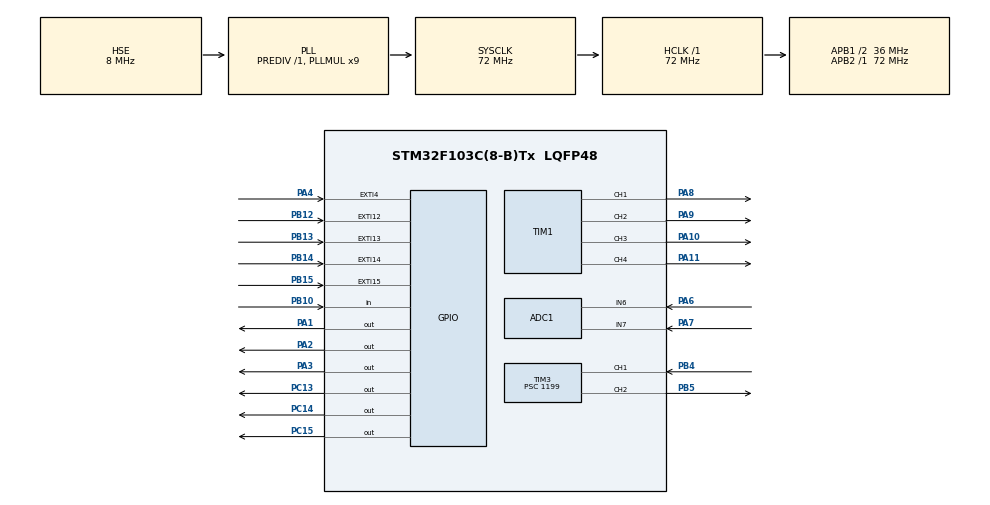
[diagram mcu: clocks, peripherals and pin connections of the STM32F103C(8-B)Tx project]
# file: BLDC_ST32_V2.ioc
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ADC1.Channel-0\#ChannelRegularConversion=ADC_CHANNEL_6
ADC1.ContinuousConvMode=ENABLE
ADC1.ExternalTrigInjecConv=ADC_EXTERNALTRIGINJECCONV_T1_CC4
ADC1.InjNumberOfConversion=1
ADC1.NbrOfConversionFlag=1
ADC1.Rank-0\#ChannelRegularConversion=1
ADC1.SamplingTime-0\#ChannelRegularConversion=ADC_SAMPLETIME_1CYCLE_5
ADC1.master=1
Dma.ADC1.0.Direction=DMA_PERIPH_TO_MEMORY
Dma.ADC1.0.Instance=DMA1_Channel1
Dma.ADC1.0.MemDataAlignment=DMA_MDATAALIGN_WORD
Dma.ADC1.0.MemInc=DMA_MINC_ENABLE
Dma.ADC1.0.Mode=DMA_CIRCULAR
Dma.ADC1.0.PeriphDataAlignment=DMA_PDATAALIGN_WORD
Dma.ADC1.0.PeriphInc=DMA_PINC_DISABLE
Dma.ADC1.0.Priority=DMA_PRIORITY_VERY_HIGH
Dma.Request0=ADC1
Mcu.Family=STM32F1
Mcu.Name=STM32F103C(8-B)Tx
Mcu.Package=LQFP48
NVIC.ADC1_2_IRQn=true\:1\:0\:true\:true\:true\:4\:true\:true
NVIC.DMA1_Channel1_IRQn=true\:1\:0\:true\:true\:true\:1\:false\:true
NVIC.EXTI15_10_IRQn=true\:1\:0\:true\:true\:true\:2\:true\:true
NVIC.EXTI4_IRQn=true\:0\:0\:true\:true\:true\:3\:true\:true
NVIC.PriorityGroup=NVIC_PRIORITYGROUP_4
NVIC.TIM3_IRQn=true\:1\:0\:true\:true\:true\:5\:true\:true
PA1.Signal=GPIO_Output
PA10.GPIO_Speed=GPIO_SPEED_FREQ_HIGH
PA10.Signal=S_TIM1_CH3
PA11.GPIO_Speed=GPIO_SPEED_FREQ_HIGH
PA11.Signal=S_TIM1_CH4
PA13.Mode=Serial_Wire
PA13.Signal=SYS_JTMS-SWDIO
PA14.Mode=Serial_Wire
PA14.Signal=SYS_JTCK-SWCLK
PA2.GPIO_PuPd=GPIO_PULLDOWN
PA2.GPIO_Speed=GPIO_SPEED_FREQ_LOW
PA2.PinState=GPIO_PIN_RESET
PA2.Signal=GPIO_Output
PA3.GPIO_ModeDefaultOutputPP=GPIO_MODE_OUTPUT_PP
PA3.GPIO_PuPd=GPIO_PULLDOWN
PA3.GPIO_Speed=GPIO_SPEED_FREQ_LOW
PA3.PinState=GPIO_PIN_RESET
PA3.Signal=GPIO_Output
PA4.GPIO_ModeDefaultEXTI=GPIO_MODE_IT_RISING
PA4.GPIO_PuPd=GPIO_PULLDOWN
PA4.Signal=GPXTI4
PA6.Signal=ADCx_IN6
PA7.Signal=ADCx_IN7
PA8.GPIO_Speed=GPIO_SPEED_FREQ_HIGH
PA8.Signal=S_TIM1_CH1
PA9.GPIO_Speed=GPIO_SPEED_FREQ_HIGH
PA9.Signal=S_TIM1_CH2
PB10.GPIO_Mode=GPIO_MODE_INPUT
PB10.GPIO_PuPd=GPIO_PULLDOWN
PB10.Signal=GPIO_Input
PB12.GPIO_ModeDefaultEXTI=GPIO_MODE_IT_RISING_FALLING
PB12.GPIO_PuPd=GPIO_PULLUP
PB12.Signal=GPXTI12
PB13.GPIO_ModeDefaultEXTI=GPIO_MODE_IT_RISING_FALLING
PB13.GPIO_PuPd=GPIO_PULLUP
PB13.Signal=GPXTI13
PB14.GPIO_ModeDefaultEXTI=GPIO_MODE_IT_RISING_FALLING
PB14.GPIO_PuPd=GPIO_PULLUP
PB14.Signal=GPXTI14
PB15.GPIO_ModeDefaultEXTI=GPIO_MODE_IT_RISING_FALLING
PB15.GPIO_PuPd=GPIO_PULLUP
PB15.Signal=GPXTI15
PB4.GPIO_PuPd=GPIO_PULLDOWN
PB4.Signal=S_TIM3_CH1
PB5.GPIO_Speed=GPIO_SPEED_FREQ_HIGH
PB5.Signal=S_TIM3_CH2
PC13-TAMPER-RTC.GPIO_PuPd=GPIO_PULLDOWN
PC13-TAMPER-RTC.GPIO_Speed=GPIO_SPEED_FREQ_HIGH
PC13-TAMPER-RTC.Signal=GPIO_Output
PC14-OSC32_IN.GPIO_PuPd=GPIO_PULLDOWN
PC14-OSC32_IN.GPIO_Speed=GPIO_SPEED_FREQ_HIGH
PC14-OSC32_IN.Signal=GPIO_Output
PC15-OSC32_OUT.GPIO_PuPd=GPIO_PULLDOWN
PC15-OSC32_OUT.GPIO_Speed=GPIO_SPEED_FREQ_HIGH
PC15-OSC32_OUT.Signal=GPIO_Output
PD0-OSC_IN.Mode=HSE-External-Oscillator
PD0-OSC_IN.Signal=RCC_OSC_IN
PD1-OSC_OUT.Mode=HSE-External-Oscillator
PD1-OSC_OUT.Signal=RCC_OSC_OUT
ProjectManager.HeapSize=0x200
ProjectManager.StackSize=0x400
ProjectManager.TargetToolchain=MDK-ARM V5
RCC.ADCPresc=RCC_ADCPCLK2_DIV6
RCC.AHBFreq_Value=72000000
RCC.APB1CLKDivider=RCC_HCLK_DIV2
RCC.APB1Freq_Value=36000000
RCC.APB1TimFreq_Value=72000000
RCC.APB2Freq_Value=72000000
RCC.APB2TimFreq_Value=72000000
RCC.EnbaleCSS=true
RCC.HCLKFreq_Value=72000000
RCC.PLLMUL=RCC_PLL_MUL9
RCC.PLLSourceVirtual=RCC_PLLSOURCE_HSE
RCC.RCC_MCOSource=RCC_MCO1SOURCE_HSE
RCC.SYSCLKFreq_VALUE=72000000
RCC.SYSCLKSource=RCC_SYSCLKSOURCE_PLLCLK
RCC.USBFreq_Value=72000000
SH.ADCx_IN6.0=ADC1_IN6,IN6
SH.ADCx_IN7.0=ADC1_IN7,IN7
SH.S_TIM1_CH1.0=TIM1_CH1,PWM Generation1 CH1
SH.S_TIM1_CH2.0=TIM1_CH2,PWM Generation2 CH2
SH.S_TIM1_CH3.0=TIM1_CH3,PWM Generation3 CH3
SH.S_TIM1_CH4.0=TIM1_CH4,PWM Generation4 CH4
SH.S_TIM3_CH1.0=TIM3_CH1,Input_Capture1_from_TI1
SH.S_TIM3_CH2.0=TIM3_CH2,PWM Generation2 CH2
TIM1.Channel-PWM\ Generation1\ CH1=TIM_CHANNEL_1
TIM1.Channel-PWM\ Generation2\ CH2=TIM_CHANNEL_2
TIM1.Channel-PWM\ Generation3\ CH3=TIM_CHANNEL_3
TIM1.Channel-PWM\ Generation4\ CH4=TIM_CHANNEL_4
TIM3.Channel-Input_Capture1_from_TI1=TIM_CHANNEL_1
TIM3.Channel-PWM\ Generation2\ CH2=TIM_CHANNEL_2
TIM3.ICFilter_CH1=14
TIM3.ICPolarity_CH1=TIM_INPUTCHANNELPOLARITY_RISING
TIM3.Period=0
TIM3.Prescaler=1199
VP_TIM3_VS_ClockSourceINT.Mode=Internal
board=custom

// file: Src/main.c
/* USER CODE BEGIN Header */
/**
  ******************************************************************************
  * @file           : main.c
  * @brief          : Main program body
  ******************************************************************************
  * @attention
  *
  * <h2><center>&copy; Copyright (c) 2019 STMicroelectronics.
  * All rights reserved.</center></h2>
  *
  * This software component is licensed by ST under BSD 3-Clause license,
  * the "License"; You may not use this file except in compliance with the
  * License. You may obtain a copy of the License at:
  *                        opensource.org/licenses/BSD-3-Clause
  *
  ******************************************************************************
  */
/* USER CODE END Header */

#include "main.h"

/* USER CODE BEGIN Includes */
#define MIN 0
#define Kp 10
#define Kd 0
#define Ki 1000

/* USER CODE END Includes */

/* USER CODE BEGIN PTD */
extern void EXTI15_10_IRQHandler(void);

/* USER CODE END PTD */

ADC_HandleTypeDef hadc1;
DMA_HandleTypeDef hdma_adc1;

TIM_HandleTypeDef htim1;
TIM_HandleTypeDef htim3;

/* USER CODE BEGIN PV */

 uint32_t adc[2];
 uint32_t val,pre,value[2];
 uint32_t  s_p=0;
 float s_p_p=0;
 uint32_t flag;
 uint32_t temp_result;
 volatile  float c_p = 0;
           double error = 0;
           int8_t result_ = 0;
					 uint32_t result = 0;
           double integ = 0;
					 float i=0;
 volatile  int chk=0;
 //volatile  float c_p_p=0;
 volatile  uint32_t   result_prev=0;
 volatile  float  inj=0;
 double RPM=0;
 double RPM_C=0;
 double lastError=0;
 volatile float prev_RPM=0;
          float elapsedTime=0;
					double rateError = 0;
 volatile float input_cap = 0;
 uint32_t input_capture_actual=0;

/* USER CODE END PV */

void SystemClock_Config(void);
static void MX_GPIO_Init(void);
static void MX_DMA_Init(void);
static void MX_ADC1_Init(void);
static void MX_TIM1_Init(void);
static void MX_TIM3_Init(void);
static void MX_NVIC_Init(void);
/* USER CODE BEGIN PFP */

void _Motoring(uint32_t value[])
{

	 RPM = 60000/input_cap;
	 s_p_p = value[0];
	 result = s_p_p*1;
   htim1.Instance->CCR1 = (result);
	 htim1.Instance->CCR2 = (result);
	 htim1.Instance->CCR3 = (result);
   htim1.Instance->CCR4 = (result);
	 integ = 0;
	 error = 0;
	 flag=1;

}
void PIDcal(uint32_t value[])
{

	  if(flag)
		{
			temp_result=result*0.5;
		}
	  s_p = RPM;
	  RPM_C = 60000/input_cap;
	  error = s_p - RPM_C;
	  //s_p = (value[1]*0.125);
	  //s_p_p=((s_p-745)*1.74);
    //s_p_p=(((s_p-993)*2));//black throttle
    //c_p = HAL_ADCEx_InjectedGetValue(&hadc1,ADC_INJECTED_RANK_1);
	  //c_p_p=((c_p-1040)*0.5);//930*4.124874=4096{3012->4096**0->4096}level shift down and then multiply+offset for current
    // error = (s_p_p-c_p_p)*3.9257;//*0.9814453125;
	  //c_p_p=0;
	  //error = (s_p_p-0)*0.99;
	  /* error = (s_p-RPM);
	  integ = integ + (error*0.00003);
    if(integ>=4020)
    {integ=4020;}
    if(integ<=-4020)
    {integ=-4020;}
	  //der = (float)(error - lst_error)/0.0012048;
	  result = (Kp*error)+(Ki*integ);//+(Kd*der);*/
		//elapsedTime = 0.00003;        //compute time elapsed from previous computation
    integ += (float)(error * 0.00003);                // compute integral
		/*if(integ >= 4020)
    {integ=4020;}
    if(integ <= -4020)
    {integ = -4020;}*/
     //rateError = (error - lastError)/elapsedTime;   // compute derivative
    result_ =(float) (Kp*error + Ki*integ+temp_result) ;//
		rateError=result;
	  /*if(result>=255)
	  {result=255;}
	  if(result<=0)
	  {result=0;}*/
		result_=result_*16;
		htim1.Instance->CCR1 = (result_);
	  htim1.Instance->CCR2 = (result_);
	  htim1.Instance->CCR3 = (result_);
    htim1.Instance->CCR4 = (result_);

	  /*htim2.Instance->CCR2 = (4020);
    htim2.Instance->CCR3 = (4020);
    htim2.Instance->CCR4 = (4020);*/
	  result_prev=result;
		input_capture_actual=input_cap;
		lastError = error;
		flag=0;
		temp_result=temp_result-100;
}

void HAL_ADCEx_InjectedConvCpltCallback(ADC_HandleTypeDef* hadc)
{
}

void HAL_ADC_ConvCpltCallback(ADC_HandleTypeDef* hadc)
{

 if(hadc->Instance==ADC1)
 {
       value[0]=adc[0];
       value[1]=adc[1];
 }
 if(chk>=150000)
		{
			HAL_GPIO_WritePin(GPIOC,GPIO_PIN_14,GPIO_PIN_SET);
		}
		else{
			HAL_GPIO_WritePin(GPIOC,GPIO_PIN_14,GPIO_PIN_RESET);
			chk++;
		}

  if(s_p_p==0)
 {
	 htim1.Instance->CCR1 = (0);
	 htim1.Instance->CCR2 = (0);
	 htim1.Instance->CCR3 = (0);
   htim1.Instance->CCR4 = (0);
	 input_cap=60000;
	 result=0;
 }
	 if(1)
 {
	  RPM = 60000/input_cap;
	 _Motoring(value);
 }
 else
 {
 PIDcal(value);
 }

}

void HAL_TIM_IC_CaptureCallback(TIM_HandleTypeDef *htim)
{
  /* Prevent unused argument(s) compilation warning */
  UNUSED(htim);

  /* NOTE : This function should not be modified, when the callback is needed,
            the HAL_TIM_IC_CaptureCallback could be implemented in the user file
   */
  if(htim->Instance == TIM3){
      input_cap = __HAL_TIM_GET_COUNTER(&htim3);
		/*if(input_cap>1500)
		{
			input_capture_actual = input_cap; __HAL_TIM_GET_COUNTER(&htim3);
			__HAL_TIM_SET_COUNTER(&htim3,0);
		}*/
		__HAL_TIM_SET_COUNTER(&htim3,0);

  }
}

/* USER CODE END PFP */

int main(void)
{

  /* MCU Configuration--------------------------------------------------------*/

  /* Reset of all peripherals, Initializes the Flash interface and the Systick. */
  HAL_Init();

  /* Configure the system clock */
  SystemClock_Config();

  /* Initialize all configured peripherals */
  MX_GPIO_Init();
  MX_DMA_Init();
  MX_ADC1_Init();
  MX_TIM1_Init();
  MX_TIM3_Init();

  /* Initialize interrupts */
  MX_NVIC_Init();
  /* USER CODE BEGIN 2 */
	HAL_TIM_PWM_Stop(&htim1,TIM_CHANNEL_1);
	HAL_TIM_PWM_Stop(&htim1,TIM_CHANNEL_2);
	HAL_TIM_PWM_Stop(&htim1,TIM_CHANNEL_3);
	HAL_TIM_PWM_Stop(&htim1,TIM_CHANNEL_4);
	HAL_GPIO_WritePin(GPIOA,GPIO_PIN_1,GPIO_PIN_RESET);
	HAL_GPIO_WritePin(GPIOA,GPIO_PIN_2,GPIO_PIN_RESET);
	HAL_GPIO_WritePin(GPIOA,GPIO_PIN_3,GPIO_PIN_RESET);

	EXTI15_10_IRQHandler();

	HAL_Delay(1000);
	htim1.Instance->CCR2 = 0;
  htim1.Instance->CCR3 = 0;
  htim1.Instance->CCR4 = 0;

	HAL_TIM_IC_Start_IT(&htim3,TIM_CHANNEL_1);
	HAL_TIM_PWM_Start(&htim3,TIM_CHANNEL_2);
	HAL_TIM_PWM_Start(&htim1,TIM_CHANNEL_1);

	htim3.Instance->CCR2 = 32767;

  htim1.Instance->CCR2 = 0;
  htim1.Instance->CCR3 = 0;
  htim1.Instance->CCR4 = 0;

	/*htim2.Instance->CCR2 = 4020;
  htim2.Instance->CCR3 = 4020;
  htim2.Instance->CCR4 = 4020;*/

  HAL_Delay(2000);

  HAL_ADCEx_InjectedStart_IT(&hadc1);
  HAL_ADC_Start_DMA(&hadc1,adc,2);

  htim1.Instance->ARR= 4020;
	//htim2.Instance->ARR= 4020;
	htim3.Instance->ARR= 59999;

  /* USER CODE END 2 */

  /* Infinite loop */
  while (1)
  {

  }
}

void SystemClock_Config(void)
{
  RCC_OscInitTypeDef RCC_OscInitStruct = {0};
  RCC_ClkInitTypeDef RCC_ClkInitStruct = {0};
  RCC_PeriphCLKInitTypeDef PeriphClkInit = {0};

  /** Initializes the CPU, AHB and APB busses clocks
  */
  RCC_OscInitStruct.OscillatorType = RCC_OSCILLATORTYPE_HSE;
  RCC_OscInitStruct.HSEState = RCC_HSE_ON;
  RCC_OscInitStruct.HSEPredivValue = RCC_HSE_PREDIV_DIV1;
  RCC_OscInitStruct.HSIState = RCC_HSI_ON;
  RCC_OscInitStruct.PLL.PLLState = RCC_PLL_ON;
  RCC_OscInitStruct.PLL.PLLSource = RCC_PLLSOURCE_HSE;
  RCC_OscInitStruct.PLL.PLLMUL = RCC_PLL_MUL9;
  if (HAL_RCC_OscConfig(&RCC_OscInitStruct) != HAL_OK)
  {
    Error_Handler();
  }
  /** Initializes the CPU, AHB and APB busses clocks
  */
  RCC_ClkInitStruct.ClockType = RCC_CLOCKTYPE_HCLK|RCC_CLOCKTYPE_SYSCLK
                              |RCC_CLOCKTYPE_PCLK1|RCC_CLOCKTYPE_PCLK2;
  RCC_ClkInitStruct.SYSCLKSource = RCC_SYSCLKSOURCE_PLLCLK;
  RCC_ClkInitStruct.AHBCLKDivider = RCC_SYSCLK_DIV1;
  RCC_ClkInitStruct.APB1CLKDivider = RCC_HCLK_DIV2;
  RCC_ClkInitStruct.APB2CLKDivider = RCC_HCLK_DIV1;

  if (HAL_RCC_ClockConfig(&RCC_ClkInitStruct, FLASH_LATENCY_2) != HAL_OK)
  {
    Error_Handler();
  }
  PeriphClkInit.PeriphClockSelection = RCC_PERIPHCLK_ADC;
  PeriphClkInit.AdcClockSelection = RCC_ADCPCLK2_DIV6;
  if (HAL_RCCEx_PeriphCLKConfig(&PeriphClkInit) != HAL_OK)
  {
    Error_Handler();
  }
  /** Enables the Clock Security System
  */
  HAL_RCC_EnableCSS();
}

/**
  * @brief NVIC Configuration.
  * @retval None
  */
static void MX_NVIC_Init(void)
{
  /* DMA1_Channel1_IRQn interrupt configuration */
  HAL_NVIC_SetPriority(DMA1_Channel1_IRQn, 1, 0);
  HAL_NVIC_EnableIRQ(DMA1_Channel1_IRQn);
  /* EXTI15_10_IRQn interrupt configuration */
  HAL_NVIC_SetPriority(EXTI15_10_IRQn, 1, 0);
  HAL_NVIC_EnableIRQ(EXTI15_10_IRQn);
  /* EXTI4_IRQn interrupt configuration */
  HAL_NVIC_SetPriority(EXTI4_IRQn, 0, 0);
  HAL_NVIC_EnableIRQ(EXTI4_IRQn);
  /* ADC1_2_IRQn interrupt configuration */
  HAL_NVIC_SetPriority(ADC1_2_IRQn, 1, 0);
  HAL_NVIC_EnableIRQ(ADC1_2_IRQn);
  /* TIM3_IRQn interrupt configuration */
  HAL_NVIC_SetPriority(TIM3_IRQn, 1, 0);
  HAL_NVIC_EnableIRQ(TIM3_IRQn);
}

static void MX_ADC1_Init(void)
{

  ADC_ChannelConfTypeDef sConfig = {0};
  ADC_InjectionConfTypeDef sConfigInjected = {0};

  /** Common config
  */
  hadc1.Instance = ADC1;
  hadc1.Init.ScanConvMode = ADC_SCAN_DISABLE;
  hadc1.Init.ContinuousConvMode = ENABLE;
  hadc1.Init.DiscontinuousConvMode = DISABLE;
  hadc1.Init.ExternalTrigConv = ADC_SOFTWARE_START;
  hadc1.Init.DataAlign = ADC_DATAALIGN_RIGHT;
  hadc1.Init.NbrOfConversion = 1;
  if (HAL_ADC_Init(&hadc1) != HAL_OK)
  {
    Error_Handler();
  }
  /** Configure Regular Channel
  */
  sConfig.Channel = ADC_CHANNEL_6;
  sConfig.Rank = ADC_REGULAR_RANK_1;
  sConfig.SamplingTime = ADC_SAMPLETIME_1CYCLE_5;
  if (HAL_ADC_ConfigChannel(&hadc1, &sConfig) != HAL_OK)
  {
    Error_Handler();
  }
  /** Configure Injected Channel
  */
  sConfigInjected.InjectedChannel = ADC_CHANNEL_7;
  sConfigInjected.InjectedRank = ADC_INJECTED_RANK_1;
  sConfigInjected.InjectedNbrOfConversion = 1;
  sConfigInjected.InjectedSamplingTime = ADC_SAMPLETIME_1CYCLE_5;
  sConfigInjected.ExternalTrigInjecConv = ADC_EXTERNALTRIGINJECCONV_T1_CC4;
  sConfigInjected.AutoInjectedConv = DISABLE;
  sConfigInjected.InjectedDiscontinuousConvMode = DISABLE;
  sConfigInjected.InjectedOffset = 0;
  if (HAL_ADCEx_InjectedConfigChannel(&hadc1, &sConfigInjected) != HAL_OK)
  {
    Error_Handler();
  }

}

static void MX_TIM1_Init(void)
{

  TIM_MasterConfigTypeDef sMasterConfig = {0};
  TIM_OC_InitTypeDef sConfigOC = {0};
  TIM_BreakDeadTimeConfigTypeDef sBreakDeadTimeConfig = {0};

  htim1.Instance = TIM1;
  htim1.Init.Prescaler = 0;
  htim1.Init.CounterMode = TIM_COUNTERMODE_UP;
  htim1.Init.Period = 0;
  htim1.Init.ClockDivision = TIM_CLOCKDIVISION_DIV1;
  htim1.Init.RepetitionCounter = 0;
  htim1.Init.AutoReloadPreload = TIM_AUTORELOAD_PRELOAD_DISABLE;
  if (HAL_TIM_PWM_Init(&htim1) != HAL_OK)
  {
    Error_Handler();
  }
  sMasterConfig.MasterOutputTrigger = TIM_TRGO_RESET;
  sMasterConfig.MasterSlaveMode = TIM_MASTERSLAVEMODE_DISABLE;
  if (HAL_TIMEx_MasterConfigSynchronization(&htim1, &sMasterConfig) != HAL_OK)
  {
    Error_Handler();
  }
  sConfigOC.OCMode = TIM_OCMODE_PWM1;
  sConfigOC.Pulse = 0;
  sConfigOC.OCPolarity = TIM_OCPOLARITY_HIGH;
  sConfigOC.OCNPolarity = TIM_OCNPOLARITY_HIGH;
  sConfigOC.OCFastMode = TIM_OCFAST_DISABLE;
  sConfigOC.OCIdleState = TIM_OCIDLESTATE_RESET;
  sConfigOC.OCNIdleState = TIM_OCNIDLESTATE_RESET;
  if (HAL_TIM_PWM_ConfigChannel(&htim1, &sConfigOC, TIM_CHANNEL_1) != HAL_OK)
  {
    Error_Handler();
  }
  if (HAL_TIM_PWM_ConfigChannel(&htim1, &sConfigOC, TIM_CHANNEL_2) != HAL_OK)
  {
    Error_Handler();
  }
  if (HAL_TIM_PWM_ConfigChannel(&htim1, &sConfigOC, TIM_CHANNEL_3) != HAL_OK)
  {
    Error_Handler();
  }
  if (HAL_TIM_PWM_ConfigChannel(&htim1, &sConfigOC, TIM_CHANNEL_4) != HAL_OK)
  {
    Error_Handler();
  }
  sBreakDeadTimeConfig.OffStateRunMode = TIM_OSSR_DISABLE;
  sBreakDeadTimeConfig.OffStateIDLEMode = TIM_OSSI_DISABLE;
  sBreakDeadTimeConfig.LockLevel = TIM_LOCKLEVEL_OFF;
  sBreakDeadTimeConfig.DeadTime = 0;
  sBreakDeadTimeConfig.BreakState = TIM_BREAK_DISABLE;
  sBreakDeadTimeConfig.BreakPolarity = TIM_BREAKPOLARITY_HIGH;
  sBreakDeadTimeConfig.AutomaticOutput = TIM_AUTOMATICOUTPUT_DISABLE;
  if (HAL_TIMEx_ConfigBreakDeadTime(&htim1, &sBreakDeadTimeConfig) != HAL_OK)
  {
    Error_Handler();
  }
  HAL_TIM_MspPostInit(&htim1);

}

static void MX_TIM3_Init(void)
{

  TIM_ClockConfigTypeDef sClockSourceConfig = {0};
  TIM_MasterConfigTypeDef sMasterConfig = {0};
  TIM_IC_InitTypeDef sConfigIC = {0};
  TIM_OC_InitTypeDef sConfigOC = {0};

  htim3.Instance = TIM3;
  htim3.Init.Prescaler = 1199;
  htim3.Init.CounterMode = TIM_COUNTERMODE_UP;
  htim3.Init.Period = 0;
  htim3.Init.ClockDivision = TIM_CLOCKDIVISION_DIV1;
  htim3.Init.AutoReloadPreload = TIM_AUTORELOAD_PRELOAD_DISABLE;
  if (HAL_TIM_Base_Init(&htim3) != HAL_OK)
  {
    Error_Handler();
  }
  sClockSourceConfig.ClockSource = TIM_CLOCKSOURCE_INTERNAL;
  if (HAL_TIM_ConfigClockSource(&htim3, &sClockSourceConfig) != HAL_OK)
  {
    Error_Handler();
  }
  if (HAL_TIM_IC_Init(&htim3) != HAL_OK)
  {
    Error_Handler();
  }
  if (HAL_TIM_PWM_Init(&htim3) != HAL_OK)
  {
    Error_Handler();
  }
  sMasterConfig.MasterOutputTrigger = TIM_TRGO_RESET;
  sMasterConfig.MasterSlaveMode = TIM_MASTERSLAVEMODE_DISABLE;
  if (HAL_TIMEx_MasterConfigSynchronization(&htim3, &sMasterConfig) != HAL_OK)
  {
    Error_Handler();
  }
  sConfigIC.ICPolarity = TIM_INPUTCHANNELPOLARITY_RISING;
  sConfigIC.ICSelection = TIM_ICSELECTION_DIRECTTI;
  sConfigIC.ICPrescaler = TIM_ICPSC_DIV1;
  sConfigIC.ICFilter = 14;
  if (HAL_TIM_IC_ConfigChannel(&htim3, &sConfigIC, TIM_CHANNEL_1) != HAL_OK)
  {
    Error_Handler();
  }
  sConfigOC.OCMode = TIM_OCMODE_PWM1;
  sConfigOC.Pulse = 0;
  sConfigOC.OCPolarity = TIM_OCPOLARITY_HIGH;
  sConfigOC.OCFastMode = TIM_OCFAST_DISABLE;
  if (HAL_TIM_PWM_ConfigChannel(&htim3, &sConfigOC, TIM_CHANNEL_2) != HAL_OK)
  {
    Error_Handler();
  }
  HAL_TIM_MspPostInit(&htim3);

}

static void MX_DMA_Init(void)
{

  /* DMA controller clock enable */
  __HAL_RCC_DMA1_CLK_ENABLE();

}

static void MX_GPIO_Init(void)
{
  GPIO_InitTypeDef GPIO_InitStruct = {0};

  /* GPIO Ports Clock Enable */
  __HAL_RCC_GPIOC_CLK_ENABLE();
  __HAL_RCC_GPIOD_CLK_ENABLE();
  __HAL_RCC_GPIOA_CLK_ENABLE();
  __HAL_RCC_GPIOB_CLK_ENABLE();

  /*Configure GPIO pin Output Level */
  HAL_GPIO_WritePin(GPIOC, GPIO_PIN_13|GPIO_PIN_14|GPIO_PIN_15, GPIO_PIN_RESET);

  /*Configure GPIO pin Output Level */
  HAL_GPIO_WritePin(GPIOA, GPIO_PIN_1|GPIO_PIN_2|GPIO_PIN_3, GPIO_PIN_RESET);

  /*Configure GPIO pins : PC13 PC14 PC15 */
  GPIO_InitStruct.Pin = GPIO_PIN_13|GPIO_PIN_14|GPIO_PIN_15;
  GPIO_InitStruct.Mode = GPIO_MODE_OUTPUT_PP;
  GPIO_InitStruct.Pull = GPIO_PULLDOWN;
  GPIO_InitStruct.Speed = GPIO_SPEED_FREQ_HIGH;
  HAL_GPIO_Init(GPIOC, &GPIO_InitStruct);

  /*Configure GPIO pin : PA1 */
  GPIO_InitStruct.Pin = GPIO_PIN_1;
  GPIO_InitStruct.Mode = GPIO_MODE_OUTPUT_PP;
  GPIO_InitStruct.Pull = GPIO_NOPULL;
  GPIO_InitStruct.Speed = GPIO_SPEED_FREQ_LOW;
  HAL_GPIO_Init(GPIOA, &GPIO_InitStruct);

  /*Configure GPIO pins : PA2 PA3 */
  GPIO_InitStruct.Pin = GPIO_PIN_2|GPIO_PIN_3;
  GPIO_InitStruct.Mode = GPIO_MODE_OUTPUT_PP;
  GPIO_InitStruct.Pull = GPIO_PULLDOWN;
  GPIO_InitStruct.Speed = GPIO_SPEED_FREQ_LOW;
  HAL_GPIO_Init(GPIOA, &GPIO_InitStruct);

  /*Configure GPIO pin : PA4 */
  GPIO_InitStruct.Pin = GPIO_PIN_4;
  GPIO_InitStruct.Mode = GPIO_MODE_IT_RISING;
  GPIO_InitStruct.Pull = GPIO_PULLDOWN;
  HAL_GPIO_Init(GPIOA, &GPIO_InitStruct);

  /*Configure GPIO pin : PB10 */
  GPIO_InitStruct.Pin = GPIO_PIN_10;
  GPIO_InitStruct.Mode = GPIO_MODE_INPUT;
  GPIO_InitStruct.Pull = GPIO_PULLDOWN;
  HAL_GPIO_Init(GPIOB, &GPIO_InitStruct);

  /*Configure GPIO pins : PB12 PB13 PB14 PB15 */
  GPIO_InitStruct.Pin = GPIO_PIN_12|GPIO_PIN_13|GPIO_PIN_14|GPIO_PIN_15;
  GPIO_InitStruct.Mode = GPIO_MODE_IT_RISING_FALLING;
  GPIO_InitStruct.Pull = GPIO_PULLUP;
  HAL_GPIO_Init(GPIOB, &GPIO_InitStruct);

}

void Error_Handler(void)
{
}

/************************ (C) COPYRIGHT STMicroelectronics *****END OF FILE****/
